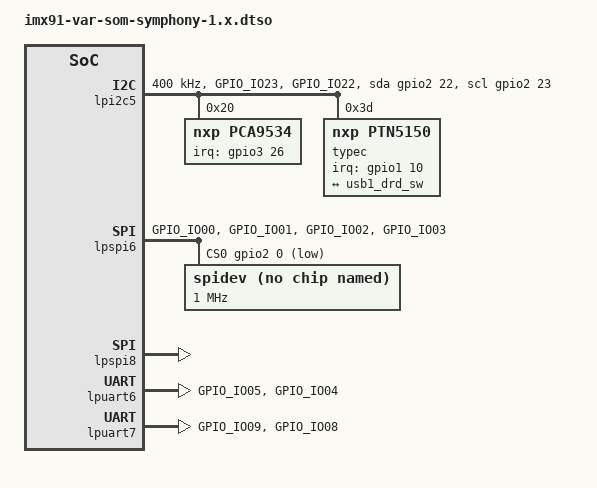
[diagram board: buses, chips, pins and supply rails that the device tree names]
// SPDX-License-Identifier: (GPL-2.0+ OR MIT)
/*
 * Device tree overlay to support the VAR-SOM-MX91 on Symphony-Board 1.x
 *
 * Copyright 2025 Variscite Ltd.
 */

#include <dt-bindings/gpio/gpio.h>
#include <dt-bindings/interrupt-controller/irq.h>
#include "imx91-pinfunc.h"

/dts-v1/;
/plugin/;

&{/} {
        aliases {
		gpio4 = &pca9534;
		ethernet0 = "/soc@0/bus@42800000/ethernet@428a0000";
		ethernet1 = "/soc@0/bus@42800000/ethernet@42890000";
	};
};

&backlight {
	status = "disabled";
};

&ethphy1 {
	qca,disable-smarteee;
	reset-assert-us = <10000>;
	reset-deassert-us = <20000>;
	vddio-supply = <&vddio1>;

	vddio1: vddio-regulator {
		regulator-min-microvolt = <1800000>;
		regulator-max-microvolt = <1800000>;
	};
};

&ft5x06_ts {
	status = "disabled";
};

&iomuxc {
	pinctrl_lpi2c5: lpi2c5grp {
		fsl,pins = <
			MX91_PAD_GPIO_IO23__LPI2C5_SCL			0x40000b9e
			MX91_PAD_GPIO_IO22__LPI2C5_SDA			0x40000b9e
		>;
	};

	pinctrl_lpi2c5_gpio: lpi2c5grp-gpio {
		fsl,pins = <
			MX91_PAD_GPIO_IO23__GPIO2_IO23			0x31e
			MX91_PAD_GPIO_IO22__GPIO2_IO22			0x31e
		>;
	};

	pinctrl_lpspi6: lpspi6grp {
		fsl,pins = <
			MX91_PAD_GPIO_IO00__GPIO2_IO0			0x31e
			MX91_PAD_GPIO_IO01__LPSPI6_SIN			0x31e
			MX91_PAD_GPIO_IO02__LPSPI6_SOUT			0x31e
			MX91_PAD_GPIO_IO03__LPSPI6_SCK			0x31e
		>;
	};

	pinctrl_reg_usdhc2_vmmc: regusdhc2vmmcgrp {
		fsl,pins = <
			MX91_PAD_GPIO_IO18__GPIO2_IO18			0x31e
		>;
	};

	pinctrl_uart6: uart6grp {
		fsl,pins = <
			MX91_PAD_GPIO_IO05__LPUART6_RX			0x31e
			MX91_PAD_GPIO_IO04__LPUART6_TX			0x31e
		>;
	};

	pinctrl_uart7: uart7grp {
		fsl,pins = <
			MX91_PAD_GPIO_IO09__LPUART7_RX			0x31e
			MX91_PAD_GPIO_IO08__LPUART7_TX			0x31e
		>;
	};
};

&lcdif {
	status = "disabled";
};

&lvds_panel {
	status = "disabled";
};

&lpi2c5 {
	#address-cells = <1>;
	#size-cells = <0>;
	clock-frequency = <400000>;
	pinctrl-names = "default", "sleep", "gpio";
	pinctrl-0 = <&pinctrl_lpi2c5>;
	pinctrl-1 = <&pinctrl_lpi2c5_gpio>;
	pinctrl-2 = <&pinctrl_lpi2c5_gpio>;
	scl-gpios = <&gpio2 23 GPIO_ACTIVE_HIGH>;
	sda-gpios = <&gpio2 22 GPIO_ACTIVE_HIGH>;
	status = "okay";

	pca9534: gpio@20 {
		compatible = "nxp,pca9534";
		reg = <0x20>;
		gpio-controller;
		pinctrl-names = "default";
		pinctrl-0 = <&pinctrl_pca9534>;
		interrupt-parent = <&gpio3>;
		interrupts = <26 IRQ_TYPE_EDGE_FALLING>;
		#gpio-cells = <2>;
		wakeup-source;
		status = "okay";
	};

	/* USB Type-C Controller */
	typec@3d {
		compatible = "nxp,ptn5150";
		pinctrl-names = "default";
		pinctrl-0 = <&pinctrl_extcon>;
		reg = <0x3d>;
		interrupt-parent = <&gpio1>;
		interrupts = <10 IRQ_TYPE_NONE>;
		irq-is-id-quirk;
		status ="okay";

		port {
			typec1_dr_sw: endpoint {
				remote-endpoint = <&usb1_drd_sw>;
			};
		};
	};
};

&lpspi6 {
	pinctrl-names = "default";
	pinctrl-0 = <&pinctrl_lpspi6>;
	cs-gpios = <&gpio2 0 GPIO_ACTIVE_LOW>;
	status = "okay";

	/* Test SPI device */
	spidev@0 {
		reg = <0>;
		compatible = "var,spidev";
		spi-max-frequency = <1000000>;
		status = "okay";
	};
};

&lpspi8 {
	status = "okay";
};

/* J18.7, J18.9 */
&lpuart6 {
	pinctrl-names = "default";
	pinctrl-0 = <&pinctrl_uart6>;
	status = "okay";
};

/* J18.3, J18.5 */
&lpuart7 {
	pinctrl-names = "default";
	pinctrl-0 = <&pinctrl_uart7>;
	status = "okay";
};

&parallel_disp_fmt {
	status = "disabled";
};

&pca6408 {
	status = "disabled";
};

&reg_usdhc2_vmmc {
	pinctrl-names = "default";
	pinctrl-0 = <&pinctrl_reg_usdhc2_vmmc>;
	gpio = <&gpio2 18 GPIO_ACTIVE_HIGH>;
};

&{/soc@0/bus@44000000/i2c@44340000/gpio@20} {
	status = "disabled";
};

&{/soc@0/bus@44000000/i2c@44340000/typec@3d} {
	status = "disabled";
};

&st33ktpm2i {
	status = "disabled";
};

&tpm4 {
        status = "disabled";
};
